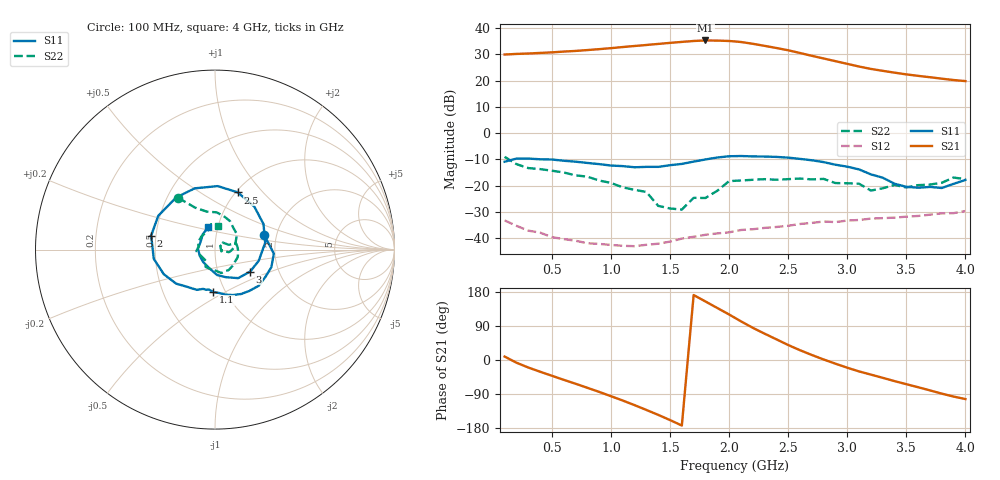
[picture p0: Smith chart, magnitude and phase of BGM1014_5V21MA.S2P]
! Bias: Vs=5.00 V; Is=21.1 mA
#  MHz  S  MA  R 50
! Freq  S11  S21  S12  S22
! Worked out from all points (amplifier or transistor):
!   40 points, 100 MHz to 4 GHz, reference 50 ohm
!   highest |S21| = 35.3 dB at 1.8 GHz (marker M1)
!   |S21| within 3 dB of that: 981.4 MHz to 2.416 GHz (1.434 GHz wide, 84.4 % of centre)
!   unconditionally stable (mu >= 1): 120.6 MHz to 1.839 GHz; 2.644 GHz to end of sweep
!   at 700 MHz: K = 1.52, MAG = 31.8 dB, |S12| = -40.9 dB
!   at 2.1 GHz: K = 0.95, MSG = 35.7 dB, |S12| = -36.8 dB
!   at 4 GHz: K = 1.65, MAG = 20.0 dB, |S12| = -29.6 dB
!   S11 on the Smith chart (normalised r, x): 100 MHz: 1.73, +0.30; 1.1 GHz: 0.88, -0.44; 2 GHz: 0.47, +0.08; 2.5 GHz: 1.02, +0.74; 3 GHz: 1.43, -0.37; 4 GHz: 0.90, +0.23
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100  0.2866 16.1  31.28 9.1  0.02196 9.4  0.355 125.5
200  0.3284 -3.9  32.14 -7.1  0.01734 -3.3  0.2584 115.3
400  0.3193 -28.8  33.57 -30.9  0.01287 -21.1  0.2078 87.6
600  0.2993 -50.3  35.61 -52.3  0.00969 -35.3  0.1792 62.1
800  0.2719 -68.6  38.05 -73.3  0.00808 -42.7  0.1491 34.7
1100  0.2367 -92.5  43.44 -107.0  0.00722 -44.7  0.09328 -1.6
1200  0.2249 -98.9  45.48 -119.1  0.00711 -43.7  0.08382 -8.2
1400  0.2287 -106.9  49.78 -144.8  0.00792 -37.3  0.04151 -4.5
1600  0.2605 -127.8  54.38 -173.0  0.00991 -37.9  0.0353 34.4
1700  0.288 -138.8  56.67 171.4  0.01073 -30.0  0.05895 35.8
1800  0.3168 -154.4  57.96 154.4  0.01171 -37.2  0.05859 41.5
1900  0.3449 -171.5  57.58 137.2  0.01243 -45.0  0.08044 19.6
2000  0.3641 167.7  56.65 120.1  0.01302 -45.7  0.1226 15.9
2100  0.368 149.2  54.18 102.1  0.01442 -60.0  0.1262 6.8
2200  0.3622 126.7  50.11 85.0  0.01493 -60.5  0.1299 -4.6
2300  0.3595 108.3  45.79 69.5  0.01582 -67.4  0.1337 -18.5
2400  0.3542 87.5  41.68 54.6  0.01647 -69.8  0.1302 -32.5
2500  0.3429 68.3  37.7 39.5  0.01736 -79.1  0.1338 -41.6
2700  0.3055 27.9  29.58 13.3  0.01968 -88.1  0.1323 -63.8
3000  0.231 -32.0  20.81 -20.3  0.02184 -112.2  0.1116 -104.3
3400  0.1095 -105.7  14.16 -55.7  0.02479 -127.7  0.1037 -175.4
4000  0.1291 107.4  9.787 -103.1  0.0331 -164.2  0.1337 83.2
